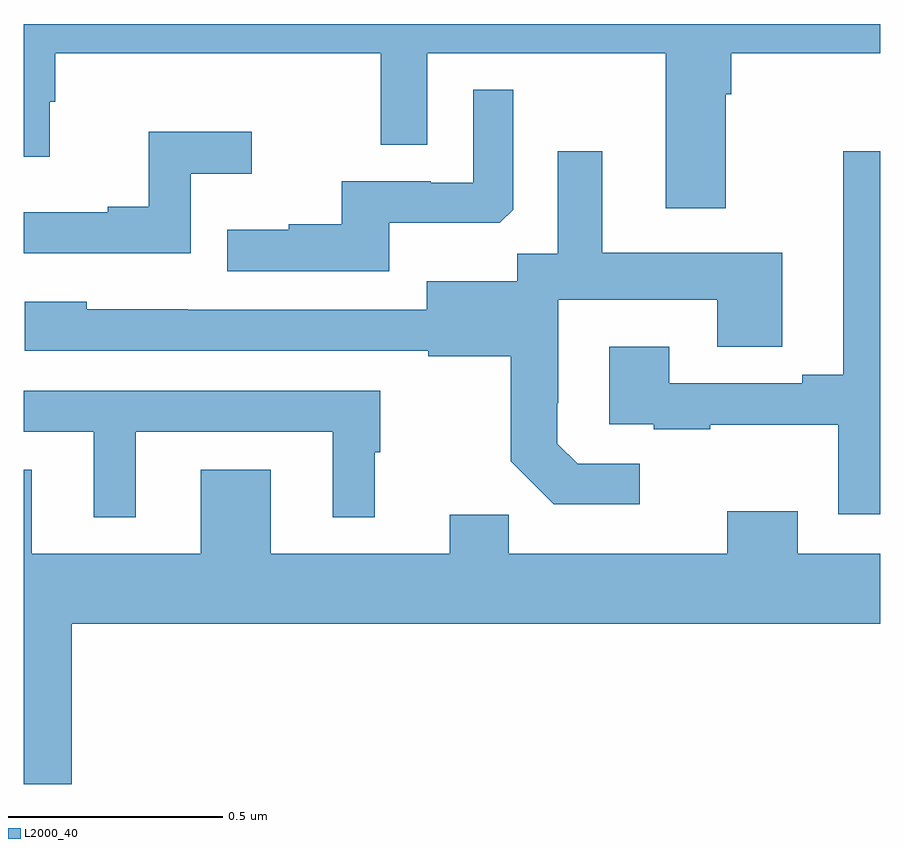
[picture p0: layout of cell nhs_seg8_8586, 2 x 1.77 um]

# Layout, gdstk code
import gdstk
lib = gdstk.Library(unit=1e-6, precision=1e-09)
def P(c, l, *ps):  # polygons
    for p in ps: c.add(gdstk.Polygon(p, *l))
L2000_40 = (2000, 40)

nhs_seg8_8586 = lib.new_cell('nhs_seg8_8586')
P(nhs_seg8_8586, L2000_40, [(225,1117.59),(225.061,1117.59),(225.061,1117.719),(225.074,1117.719),(225.074,1117.832),(225.834,1117.832),(225.834,1117.618),(225.942,1117.618),(225.942,1117.832),(226.499,1117.832),(226.499,1117.47),(226.639,1117.47),(226.639,1117.736),(226.652,1117.736),(226.652,1117.832),(227,1117.832),(227,1117.9),(225,1117.9)],
  [(225.853,1117.436),(226.111,1117.436),(226.143,1117.467),(226.143,1117.747),(226.05,1117.747),(226.05,1117.53),(225.95,1117.53),(225.95,1117.533),(225.743,1117.533),(225.743,1117.432),(225.619,1117.432),(225.619,1117.42),(225.475,1117.42),(225.475,1117.323),(225.853,1117.323)],
  [(225.39,1117.55),(225.532,1117.55),(225.532,1117.649),(225.292,1117.649),(225.292,1117.474),(225.197,1117.474),(225.197,1117.461),(225,1117.461),(225,1117.365),(225.39,1117.365)],
  [(226.438,1116.873),(226.293,1116.873),(226.246,1116.92),(226.246,1117.015),(226.248,1117.015),(226.248,1117.256),(226.619,1117.256),(226.619,1117.147),(226.771,1117.147),(226.771,1117.366),(226.351,1117.366),(226.351,1117.603),(226.247,1117.603),(226.247,1117.364),(226.152,1117.364),(226.152,1117.3),(225.941,1117.3),(225.941,1117.233),(225.383,1117.233),(225.383,1117.234),(225.147,1117.234),(225.147,1117.252),(225.003,1117.252),(225.003,1117.137),(225.945,1117.137),(225.945,1117.125),(226.137,1117.125),(226.137,1116.879),(226.237,1116.779),(226.438,1116.779)],
  [(227,1117.603),(226.913,1117.603),(226.913,1117.081),(226.817,1117.081),(226.817,1117.062),(226.507,1117.062),(226.507,1117.147),(226.367,1117.147),(226.367,1116.966),(226.471,1116.966),(226.471,1116.954),(226.603,1116.954),(226.603,1116.965),(226.902,1116.965),(226.902,1116.756),(227,1116.756)],
  [(225.262,1116.948),(225.722,1116.948),(225.722,1116.749),(225.82,1116.749),(225.82,1116.9),(225.832,1116.9),(225.832,1117.044),(225,1117.044),(225,1116.948),(225.164,1116.948),(225.164,1116.749),(225.262,1116.749)],
  [(225.112,1116.5),(227,1116.5),(227,1116.664),(226.807,1116.664),(226.807,1116.763),(226.643,1116.763),(226.643,1116.664),(226.133,1116.664),(226.133,1116.755),(225.995,1116.755),(225.995,1116.664),(225.577,1116.664),(225.577,1116.859),(225.413,1116.859),(225.413,1116.664),(225.019,1116.664),(225.019,1116.859),(225,1116.859),(225,1116.126),(225.112,1116.126)])

lib.write_gds('nhs_seg8_8586.gds')
